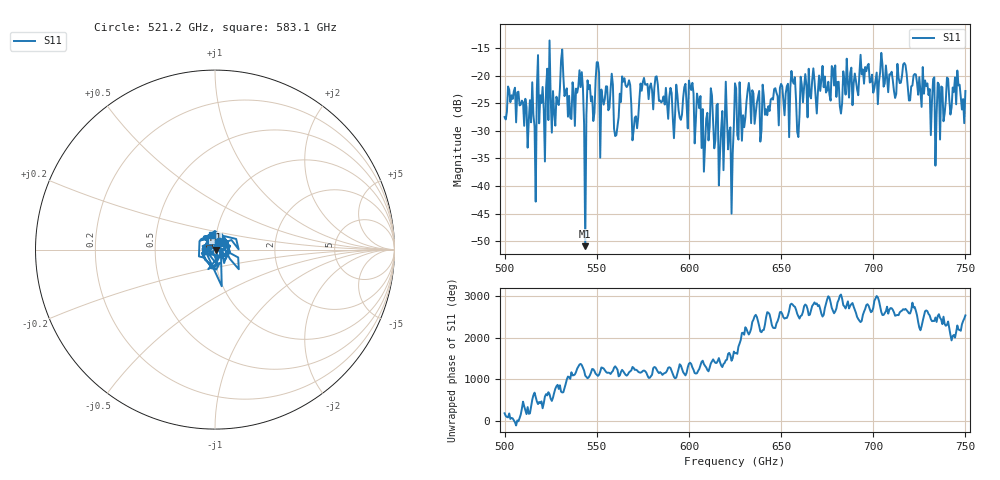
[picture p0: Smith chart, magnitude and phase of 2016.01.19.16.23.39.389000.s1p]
!Created with skrf (http://scikit-rf.org).
# GHz S RI R 50.0
!freq ReS11 ImS11
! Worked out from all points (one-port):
!   401 points, 500 GHz to 750 GHz, reference 50 ohm
!   lowest |S11| = -50.8 dB at 543.8 GHz (marker M1), VSWR 1.01, Z = 50.3 + j0.0421 ohm
!   |S11| at or under -10 dB: start of sweep to end of sweep
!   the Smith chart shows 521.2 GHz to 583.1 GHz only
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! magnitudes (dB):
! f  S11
! 500 GHz  -27.5
! 504.4 GHz  -24.2
! 515.6 GHz  -27.1
! 518.8 GHz  -28.6
! 526.9 GHz  -26.7
! 531.2 GHz  -15.3
! 535 GHz  -23.7
! 541.2 GHz  -22.1
! 543.8 GHz  -50.8
! 550 GHz  -17.6
! 560.6 GHz  -30.8
! 562.5 GHz  -23.3
! 570.6 GHz  -27.6
! 593.8 GHz  -23.5
! 601.2 GHz  -22.6
! 608.1 GHz  -37.4
! 611.2 GHz  -29.3
! 617.5 GHz  -29.6
! 621.2 GHz  -33.3
! 622.5 GHz  -29.4
! 625 GHz  -21.4
! 656.2 GHz  -21.0
! 658.8 GHz  -30.2
! 661.9 GHz  -24.9
! 687.5 GHz  -19.5
! 718.8 GHz  -22.0
! 735 GHz  -21.3
! 750 GHz  -22.8
